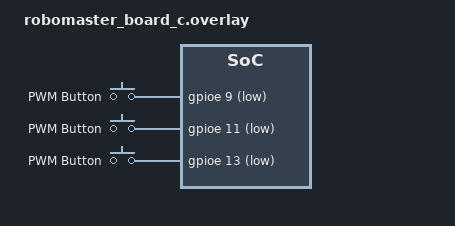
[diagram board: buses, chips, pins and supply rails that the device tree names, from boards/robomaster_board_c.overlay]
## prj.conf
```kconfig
# 启用线程分析器
CONFIG_THREAD_ANALYZER=y
CONFIG_THREAD_ANALYZER_USE_LOG=y
CONFIG_THREAD_ANALYZER_USE_PRINTK=n
CONFIG_THREAD_NAME=y
CONFIG_THREAD_ANALYZER_AUTO=n
CONFIG_THREAD_ANALYZER_AUTO_INTERVAL=5
CONFIG_THREAD_ANALYZER_LOG_LEVEL_INF=y
CONFIG_THREAD_ANALYZER_AUTO_SEPARATE_CORES=n

# 启用事件支持
CONFIG_EVENTS=y

# 禁用优化
# CONFIG_NO_OPTIMIZATIONS=n
# CONFIG_COMPILER_OPT="-O3 -fno-strict-overflow -fno-common -ffunction-sections -fdata-sections -ffreestanding -fno-builtin"

# 启用驱动
CONFIG_MOTOR=y
CONFIG_MOTOR_COMMON=y
CONFIG_MOTOR_DJI=y
# CONFIG_MOTOR_DM=y
CONFIG_MOTOR_LOG_LEVEL=4
CONFIG_CAN=y
CONFIG_MOTOR_INIT_PRIORITY=90

CONFIG_ARES=y
CONFIG_ARES_SBUS=y
CONFIG_EKF_LIB=y

CONFIG_AUTO_PROBE_GYRO_BIAS=y

CONFIG_CMSIS_DSP=y
CONFIG_CMSIS_DSP_MATRIX=y
CONFIG_CMSIS_DSP_CONTROLLER=y
CONFIG_CMSIS_DSP_FASTMATH=y

CONFIG_CHASSIS=y

CONFIG_SEGGER_SYSTEMVIEW=y

CONFIG_PLOTTER_FREQ=800
CONFIG_PLOTTER=y

CONFIG_TRACING_SYSCALL=n
```

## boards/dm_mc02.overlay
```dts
/ {
	motor0: motor0{
		compatible = "dji,motor";
		is_m3508;
		id = <1>;
		rx_id = <0x201>;
		tx_id = <0x200>;
		gear_ratio = "15.76";
		status = "okay";
		can_channel = <&can1>;
		controllers = <&wheel_angle_pid &wheel_speed_pid>;
		capabilities = "angle", "speed";
	};
	motor_steer0: motor_steer0{
		compatible = "dji,motor";
		is_gm6020;
		id = <5>;
		rx_id = <0x209>;
		tx_id = <0x2FF>;
		gear_ratio = "1.0";
		status = "okay";
		can_channel = <&can1>;
		controllers = <&steer_angle_pid &steer_speed_pid>;
		capabilities = "angle", "speed";
	};

	pid {
		wheel_speed_pid: wheel_speed_pid {
			#controller-cells = <0>;
			compatible = "pid,single";
			k_p = "2.65";
			k_d = "60";
			detri_lpf = "0.985";
		};

		wheel_angle_pid: wheel_angle_pid {
			#controller-cells = <0>;
			compatible = "pid,single";
			k_p = "3";
			k_d = "320";
			detri_lpf = "0.985";
		};

		steer_speed_pid: steer_speed_pid {
			#controller-cells = <0>;
			compatible = "pid,single";
			k_p = "10.0";
			k_d = "2.0";
			detri_lpf = "0.95";
		};

		steer_angle_pid: steer_angle_pid {
			#controller-cells = <0>;
			compatible = "pid,single";
			k_p = "2.0";
			k_d = "0";
			detri_lpf = "0.9985";
		};
	};
	sbus0: sbus0 {
		compatible = "ares,sbus";
		status = "okay";
	};
};
```

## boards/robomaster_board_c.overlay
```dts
/ {
	chassis: chassis {
		compatible = "ares,chassis";
		status = "okay";
		wheels = 
				
				<&steerwheel1  2550  1781>,
				<&steerwheel2  0 (-3110)>,
				<&steerwheel3 (-2550) 1781>;
		angle-pid = <&chassis_roll_angle_pid>;
		max_linear_accel = "10";
		max_gyro = "20";
	};
	steerwheel {
		steerwheel1: steerwheel1 {
			#wheel-cells = <2>;
			compatible = "ares,steerwheel";
			status = "okay";
			steer-motor = <&motor_steer0>;
			wheel-motor = <&motor_wheel0>;
			wheel-radius = "0.555";
			angle-offset = "302";
	
		};

		steerwheel2: steerwheel2 {
			#wheel-cells = <2>;
			compatible = "ares,steerwheel";
			status = "okay";
			steer-motor = <&motor_steer1>;
			wheel-motor = <&motor_wheel1>;
			wheel-radius = "0.555";
			angle-offset = "125";
			
		};

		steerwheel3: steerwheel3 {
			#wheel-cells = <2>;
			compatible = "ares,steerwheel";
			status = "okay";
			steer-motor = <&motor_steer2>;
			wheel-motor = <&motor_wheel2>;
			wheel-radius = "0.555";
			angle-offset = "252";
			
		};
	};

	rm_motor {
		motor_wheel0: motor_wheel0{
			compatible = "dji,motor";
            is_m3508;
			id = <1>;
            rx_id = <0x201>;
            tx_id = <0x200>;
			gear_ratio = "15.7647";
			status = "okay";
			can_channel = <&can1>;
			controllers = <&wheel_angle_pid &wheel_speed_pid>;
			capabilities = "angle", "speed";
		};

		motor_wheel1: motor_wheel1{
			compatible = "dji,motor";
            is_m3508;
			id = <2>;
            rx_id = <0x202>;
            tx_id = <0x200>;
			gear_ratio = "15.7647";
			status = "okay";
			can_channel = <&can1>;
			controllers = <&wheel_angle_pid &wheel_speed_pid>;
			capabilities = "angle", "speed";
		};

		motor_wheel2: motor_wheel2{
			compatible = "dji,motor";
            is_m3508;
			id = <3>;
            rx_id = <0x203>;
            tx_id = <0x200>;
			gear_ratio = "15.7647";
			status = "okay";
			can_channel = <&can1>;
			controllers = <&wheel_angle_pid &wheel_speed_pid>;
			capabilities = "angle", "speed";
		};

		motor_steer0: motor_steer0{
			compatible = "dji,motor";
			is_m2006;
			id = <4>;
			rx_id = <0x204>;
			tx_id = <0x200>;
			gear_ratio = "36.0";
			status = "okay";
			can_channel = <&can1>;
			controllers = <&steer_angle_pid &steer_speed_pid>;
			capabilities = "angle", "speed";
			minor_arc;
		};

		motor_steer1: motor_steer1{
			compatible = "dji,motor";
			is_m2006;
			id = <5>;
			rx_id = <0x205>;
			tx_id = <0x1FF>;
			gear_ratio = "36.0";
			status = "okay";
			can_channel = <&can1>;
			controllers = <&steer_angle_pid &steer_speed_pid>;
			capabilities = "angle", "speed";
			minor_arc;
		};

		motor_steer2: motor_steer2{
			compatible = "dji,motor";
			is_m2006;
			id = <6>;
			rx_id = <0x206>;
			tx_id = <0x1FF>;
			gear_ratio = "36.0";
			status = "okay";
			can_channel = <&can1>;
			controllers = <&steer_angle_pid &steer_speed_pid>;
			capabilities = "angle", "speed";
			minor_arc;
		};
	};

	sbus0: sbus0 {
		compatible = "ares,sbus";
		status = "okay";
	};
	pid {
		chassis_roll_angle_pid: chassis_roll_angle_pid {
			#controller-cells = <0>;
			compatible = "pid,single";
			k_p = "0.09";
			k_d = "0.27";
		};
		steer_speed_pid: steer_speed_pid {
			#controller-cells = <0>;
			compatible = "pid,single";
			k_p = "10.0";
			k_d = "0.8";
			detri_lpf = "0.95";
		};

		steer_angle_pid: steer_angle_pid {
			#controller-cells = <0>;
			compatible = "pid,single";
			k_p = "10.0";
			k_d = "0.8";
			detri_lpf = "0.9985";
		};
		wheel_speed_pid: wheel_speed_pid {
			#controller-cells = <0>;
			compatible = "pid,single";
			k_p = "0.12";
			k_d = "0.2";
			detri_lpf = "0.85";
			out_max = "4";
		};

		wheel_angle_pid: wheel_angle_pid {
			#controller-cells = <0>;
			compatible = "pid,single";
			k_p = "3.7";
			detri_lpf = "0.85";
		};
	};
	
	pwm_button {
		compatible = "gpio-keys";
		pwm_button1: button_1 {
			gpios = <&gpioe 9 (GPIO_PULL_UP | GPIO_ACTIVE_LOW)>;
			label = "PWM Button";
			zephyr,code = <INPUT_KEY_1>;
		};
		pwm_button2: button_2 {
			gpios = <&gpioe 11 (GPIO_PULL_UP | GPIO_ACTIVE_LOW)>;
			label = "PWM Button";
			zephyr,code = <INPUT_KEY_2>;
		};
		pwm_button3: button_3 {
			gpios = <&gpioe 13 (GPIO_PULL_UP | GPIO_ACTIVE_LOW)>;
			label = "PWM Button";
			zephyr,code = <INPUT_KEY_3>;
		};
	};
};
&cdc_acm_uart0 {
	status = "disabled";
};
```

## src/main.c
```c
#include <ares/interface/uart/uart.h>
#include <zephyr/debug/thread_analyzer.h>
#include <arm_math.h>
#include <zephyr/debug/thread_analyzer.h>
#include <ares/interface/usb/usb_bulk.h>
#include <zephyr/drivers/gpio.h>
#include <math.h>
#include <stdbool.h>
#include <stddef.h>
#include <stdint.h>
#include <zephyr/device.h>
#include <zephyr/logging/log.h>
#include <zephyr/kernel.h>
#include <zephyr/drivers/motor.h>
#include <zephyr/drivers/sbus.h>
#include <zephyr/drivers/chassis.h>
#include <ares/board/init.h>
#include <ares/ekf/imu_task.h>
#include <ares/protocol/dual/dual_protocol.h>
#include <ares/ares_comm.h>
#include "ares/ekf/QuaternionEKF.h"
#include "devices.h"
LOG_MODULE_REGISTER(main, LOG_LEVEL_DBG);
#define CHASSIS_SRC_SBUS

/* Motor Calibration */
#define MAX_MOTORS_TO_CALIBRATE 3
#define CALIBRATION_STACK_SIZE  2048
int pub_cnt = 0;
struct motor_calibration_data {
	const struct device *motor_dev;
	const struct gpio_dt_spec *button;
	struct gpio_callback button_cb;
	volatile bool first_calibrate_done;
	volatile bool second_calibrate_done;
	struct k_sem completion_sem;
};

static struct motor_calibration_data calib_data[MAX_MOTORS_TO_CALIBRATE];
K_THREAD_STACK_ARRAY_DEFINE(calib_stacks, MAX_MOTORS_TO_CALIBRATE, CALIBRATION_STACK_SIZE);
static struct k_thread calib_threads[MAX_MOTORS_TO_CALIBRATE];
static int calib_instance_count = 0;

void calibration_button_pressed(const struct device *dev, struct gpio_callback *cb, uint32_t pins)
{
	struct motor_calibration_data *data =
		CONTAINER_OF(cb, struct motor_calibration_data, button_cb);

	if (!data->first_calibrate_done) {
		LOG_INF("Motor %s: First calibration point reached.", data->motor_dev->name);
		data->first_calibrate_done = true;
	} else if (!data->second_calibrate_done) {
		LOG_INF("Motor %s: Second calibration point reached.", data->motor_dev->name);
		data->second_calibrate_done = true;
	}
}

void calibration_thread_entry(void *p1, void *p2, void *p3)
{
	struct motor_calibration_data *data = (struct motor_calibration_data *)p1;

	motor_control(data->motor_dev, ENABLE_MOTOR);
	motor_set_speed(data->motor_dev, 20);

	while (!data->first_calibrate_done) {
		k_msleep(1);
	}

	motor_set_speed(data->motor_dev, 5);
	k_msleep(300);
	motor_set_speed(data->motor_dev, -2);

	while (!data->second_calibrate_done) {
		k_msleep(1);
	}

	motor_set_speed(data->motor_dev, 0);
	motor_control(data->motor_dev, SET_ZERO);

	gpio_remove_callback(data->button->port, &data->button_cb);
	LOG_INF("Calibration for motor %s complete.", data->motor_dev->name);
	k_sem_give(&data->completion_sem);
}

int calibrate_motor_start(const struct device *motor_dev, const struct gpio_dt_spec *button)
{
	if (calib_instance_count >= MAX_MOTORS_TO_CALIBRATE) {
		LOG_ERR("Maximum number of calibrations reached");
		return -ENOMEM;
	}

	if (!device_is_ready(motor_dev)) {
		LOG_ERR("Motor device %s is not ready", motor_dev->name);
		return -ENODEV;
	}

	if (!device_is_ready(button->port)) {
		LOG_ERR("Button device %s is not ready", button->port->name);
		return -ENODEV;
	}

	int instance_idx = calib_instance_count;
	struct motor_calibration_data *data = &calib_data[instance_idx];

	data->motor_dev = motor_dev;
	data->button = button;
	data->first_calibrate_done = false;
	data->second_calibrate_done = false;
	k_sem_init(&data->completion_sem, 0, 1);

	int ret = gpio_pin_configure_dt(button, GPIO_INPUT);
	if (ret < 0) {
		LOG_ERR("Failed to configure button GPIO for motor %s: %d", motor_dev->name, ret);
		return ret;
	}
	ret = gpio_pin_interrupt_configure_dt(button, GPIO_INT_EDGE_TO_ACTIVE);
	if (ret != 0) {
		LOG_ERR("Failed to configure interrupt for motor %s: %d", motor_dev->name, ret);
		return ret;
	}

	gpio_init_callback(&data->button_cb, calibration_button_pressed, BIT(button->pin));
	gpio_add_callback(button->port, &data->button_cb);

	k_thread_create(&calib_threads[instance_idx], calib_stacks[instance_idx],
			CALIBRATION_STACK_SIZE, calibration_thread_entry, data, NULL, NULL, 5, 0,
			K_NO_WAIT);

	calib_instance_count++;
	LOG_INF("Started calibration for motor %s", motor_dev->name);
	return 0;
}uint32_t prev_vel_upd_time = 0;
int usb_cnt = 0;
int vel_func_cb(uint32_t arg1, uint32_t arg2, uint32_t arg3)
{
#ifdef CHASSIS_SRC_USB
	chassis_ctrl[0] = TO_FLOAT(arg1);
	chassis_ctrl[1] = TO_FLOAT(arg2);
	chassis_ctrl[2] = TO_FLOAT(arg3);
	if (usb_cnt++ % 100 == 0) {
		// LOG_INF("Arg1: 0x%08x Arg2: 0x%08x Arg3: 0x%08x", arg1, arg2, arg3);
		LOG_INF("X: %f Y: %f Gyro: %f", (double)TO_FLOAT(arg1), (double)TO_FLOAT(arg2),
			(double)TO_FLOAT(arg3));
	}
	prev_vel_upd_time = k_uptime_get_32();
#endif
	return 0;
}
static float chassis_ctrl[3] = {0.0f};
/* CAN Feedback to console*/
void chassis_thread_(void *arg1, void *arg2, void *arg3)
{
	// float angle = 0;
	int cnt = 0;
	uint32_t stop_time = 0;
	while (1) {
		k_msleep(2);

		// angle += sbus_get_percent(sbus, 0) * 0.8f;
		// angle = fmodf(angle, 360);
		float X = sbus_get_percent(sbus, 3);
		float Y = sbus_get_percent(sbus, 1);
		float gyro = sbus_get_percent(sbus, 0);

		if (sqrtf(X * X + Y * Y) > 0.06f || fabsf(gyro) > 0.06f) {
			chassis_set_static(chassis, false);
			chassis_set_speed(chassis, -X * 2.2f, Y * 2.2f);
			// chassis_set_angle(chassis, 0);
			chassis_set_gyro(chassis, -gyro * 1.0f);
			stop_time = 0;
		} else if ((chassis_ctrl[0] * chassis_ctrl[0] + chassis_ctrl[1] * chassis_ctrl[1]) >
				   0.06f ||
			   fabsf(chassis_ctrl[2]) > 0.06f) {
			if (k_uptime_get_32() - prev_vel_upd_time > 300) {
				chassis_ctrl[0] = 0.0f;
				chassis_ctrl[1] = 0.0f;
				chassis_ctrl[2] = 0.0f;
			}
			chassis_set_static(chassis, false);
			chassis_set_speed(chassis, chassis_ctrl[0], chassis_ctrl[1]);
			chassis_set_gyro(chassis, chassis_ctrl[2]);
			stop_time = 0;
		} else {
			if (stop_time == 0) {
				stop_time = k_uptime_get_32();
			}
			if (k_uptime_get_32() - stop_time > 200) {
				chassis_set_static(chassis, true);
				// chassis_set_speed(chassis, 0, 0.1);
			}
		}

		if (cnt++ % 50 == 0) {
			// LOG_INF("speed yq1: %f speed yq2: %f speed yq3: %f",
			// motor_get_speed(yq1), 	motor_get_speed(yq2), motor_get_speed(yq3));
			// LOG_INF("torque yq1: %f torque yq2: %f torque yq3: %f",
			// 	motor_get_torque(yq1), motor_get_torque(yq2),
			// 	motor_get_torque(yq3));
			// LOG_INF("gyro: %f", chassis_get_status(chassis)->gyro);
			// LOG_INF("X: %f Y: %f", X, Y);
		}
	}
}
K_THREAD_DEFINE(chassis_, 3072, chassis_thread_, NULL, NULL, NULL, 0, 0, 100);
uint8_t begin=0;


void Sensor_update_cb(QEKF_INS_t *QEKF)
{
	
	struct pos_data pos = {0};
	pos.Yaw = -QEKF->Yaw;
	pos.accel[0] = QEKF->Accel[X];
	pos.accel[1] = QEKF->Accel[Y];
	pos.accel[2] = QEKF->Accel[Z];
	int ret = 0;

	if (pub_cnt++ % 3) {
		// chassis_update_sensor(chassis, &pos)

	}
}
void trans_cb(int arg)
{
	return;
}

DUAL_PROPOSE_PROTOCOL_DEFINE(dual_protocol);
ARES_BULK_INTERFACE_DEFINE(usb_bulk_interface);

int main(void)
{	
	k_msleep(3000);
	ares_bind_interface(&usb_bulk_interface, &dual_protocol);
	
	
	chassis_set_enabled(chassis, false);

	LOG_INF("Starting motor calibrations...");

	calibrate_motor_start(steer_motor1, &button1);
	calibrate_motor_start(steer_motor2, &button2);
	calibrate_motor_start(steer_motor3, &button3);

	LOG_INF("All calibration processes have been started.");

	
	// Wait for all calibrations to complete
	for (int i = 0; i < calib_instance_count; i++) {
		k_sem_take(&calib_data[i].completion_sem, K_FOREVER);
	}
	begin=1;
	LOG_INF("All motors have been calibrated successfully!");
	IMU_Sensor_trig_init(accel_dev, gyro_dev);
	IMU_Sensor_set_update_cb(Sensor_update_cb);
	chassis_set_enabled(chassis, true);
	chassis_set_gyro(chassis, 0);
	chassis_set_speed(chassis, 0, 0);
	dual_func_add(&dual_protocol, 0x1, (dual_trans_func_t)vel_func_cb);
	// Example of using motors after calibration
	while (1) {
		
		k_msleep(100);
		if((sbus_get_percent(sbus, 1) > -0.01f && 
		   sbus_get_percent(sbus, 1) < 0.01f)  ||
		   (sbus_get_percent(sbus, 3) > -0.01f && 
		   sbus_get_percent(sbus, 3) < 0.01f)) 
		{
			chassis_set_static(chassis, true);
		}
		// LOG_INF("Sbus1 : %f, Sbus3: %f", 
		// 	(double)sbus_get_percent(sbus, 1), (double)sbus_get_percent(sbus, 3));
		
	}
}
```

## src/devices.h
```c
#include <zephyr/device.h>
#include <zephyr/drivers/gpio.h>

/* Devicetree */
#define ACCEL_NODE DT_NODELABEL(bmi08x_accel)
const struct device *accel_dev = DEVICE_DT_GET(ACCEL_NODE);

#define GYRO_NODE DT_NODELABEL(bmi08x_gyro)
const struct device *gyro_dev = DEVICE_DT_GET(GYRO_NODE);

#define WHEELMOTOR1_NODE DT_NODELABEL(motor_wheel0)
#define WHEELMOTOR2_NODE DT_NODELABEL(motor_wheel1)
#define WHEELMOTOR3_NODE DT_NODELABEL(motor_wheel2)

#define STEERMOTOR1_NODE DT_NODELABEL(motor_steer0)
#define STEERMOTOR2_NODE DT_NODELABEL(motor_steer1)
#define STEERMOTOR3_NODE DT_NODELABEL(motor_steer2)

#define BUTTON1_NODE DT_NODELABEL(pwm_button1)
#define BUTTON2_NODE DT_NODELABEL(pwm_button2)
#define BUTTON3_NODE DT_NODELABEL(pwm_button3)

#define CHASSIS_NODE DT_NODELABEL(chassis)

const struct device *wheel_motor1 = DEVICE_DT_GET(WHEELMOTOR1_NODE);
const struct device *wheel_motor2 = DEVICE_DT_GET(WHEELMOTOR2_NODE);
const struct device *wheel_motor3 = DEVICE_DT_GET(WHEELMOTOR3_NODE);

const struct device *steer_motor1 = DEVICE_DT_GET(STEERMOTOR1_NODE);
const struct device *steer_motor2 = DEVICE_DT_GET(STEERMOTOR2_NODE);
const struct device *steer_motor3 = DEVICE_DT_GET(STEERMOTOR3_NODE);

static const struct gpio_dt_spec button1 = GPIO_DT_SPEC_GET_OR(BUTTON1_NODE, gpios, {0});
static const struct gpio_dt_spec button2 = GPIO_DT_SPEC_GET_OR(BUTTON2_NODE, gpios, {0});
static const struct gpio_dt_spec button3 = GPIO_DT_SPEC_GET_OR(BUTTON3_NODE, gpios, {0});

const struct device *chassis = DEVICE_DT_GET(CHASSIS_NODE);

#define SBUS_NODE DT_NODELABEL(sbus0)
const struct device *sbus = DEVICE_DT_GET(SBUS_NODE);
```
